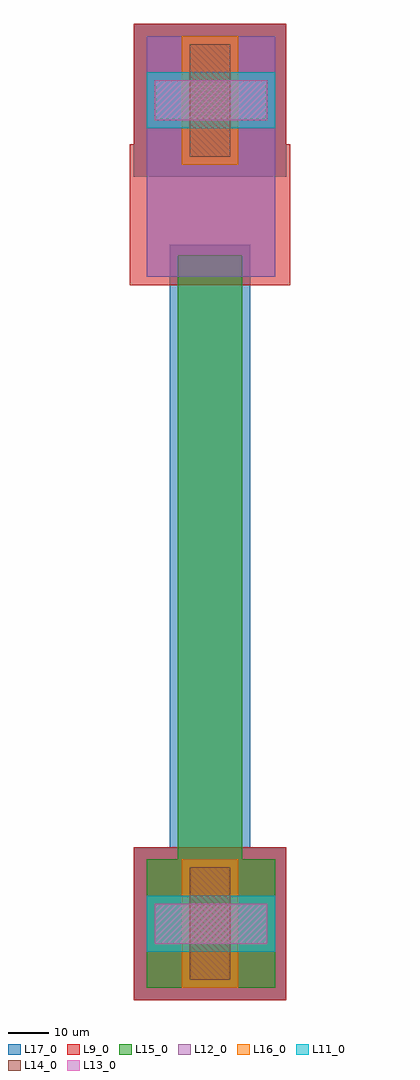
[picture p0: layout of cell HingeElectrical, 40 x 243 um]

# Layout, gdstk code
import gdstk
lib = gdstk.Library(unit=1e-6, precision=1e-09)
def R(c, l, rs):  # rectangles x0, y0, x1, y1
    for r in rs: c.add(gdstk.rectangle(r[:2], r[2:], *l))
L9_0 = (9, 0)
L11_0 = (11, 0)
L12_0 = (12, 0)
L13_0 = (13, 0)
L14_0 = (14, 0)
L15_0 = (15, 0)
L16_0 = (16, 0)
L17_0 = (17, 0)
L218_0 = (218, 0)

hingeelectrical = lib.new_cell('HingeElectrical')
R(hingeelectrical, L9_0, [(-9,-38,29,0), (-10,140,30,175), (-9,167,29,205)])
R(hingeelectrical, L11_0, [(-5.8,-26,26.2,-12), (-5.8,179,26.2,193)])
R(hingeelectrical, L12_0, [(-5.8,142.1,26.2,170), (-5.8,170,26.2,202)])
R(hingeelectrical, L13_0, [(-3.8,-24,24.2,-14), (-3.8,181,24.2,191)])
R(hingeelectrical, L14_0, [(5,-33,15,-5), (5,172,15,200)])
R(hingeelectrical, L15_0, [(-5.8,-35,26.2,-3), (2,-3,18,147.4)])
R(hingeelectrical, L16_0, [(3,-35,17,-3), (3,170,17,202)])
R(hingeelectrical, L17_0, [(-9,-38,29,0), (0,0,20,150), (-9,167,29,205)])
hingeelectrical.add(gdstk.FlexPath([(0,60),(20,60)], 0, ends="flush", simple_path=True, layer=218, datatype=0))  # L218_0

lib.write_gds('HingeElectrical.gds')
